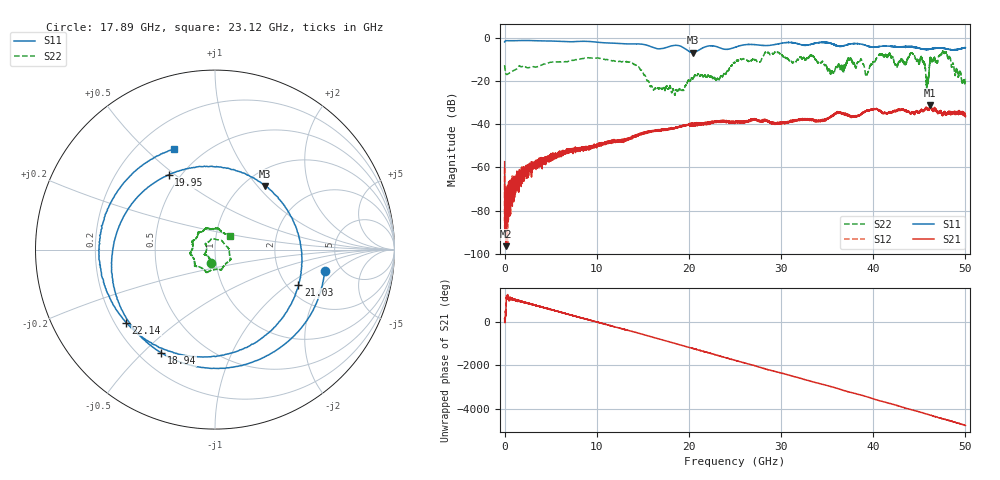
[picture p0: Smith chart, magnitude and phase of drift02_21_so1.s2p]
!Created with skrf (http://scikit-rf.org).
# Hz S RI R 50.0
!freq ReS11 ImS11 ReS21 ImS21 ReS12 ImS12 ReS22 ImS22
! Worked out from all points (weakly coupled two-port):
!   10001 points, 300 kHz to 50 GHz, reference 50 ohm
!   highest |S21| = -31.27 dB at 46.2 GHz (marker M1); lowest = -96.4 dB at 155.3 MHz (marker M2)
!   lowest |S11| = -6.9 dB at 20.45 GHz (marker M3), VSWR 2.64, Z = 61.8 + j55 ohm
!   |S11| at or under -10 dB: nowhere
!   |S22| runs from -26.6 to -6.2 dB; largest |S21 - S12| = 0.0029
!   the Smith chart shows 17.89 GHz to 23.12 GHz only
!   S11 on the Smith chart (normalised r, x): 17.89 GHz: 3.70, -1.45; 18.94 GHz: 0.29, -0.57; 19.95 GHz: 0.43, +0.47; 21.03 GHz: 2.28, -1.22; 22.14 GHz: 0.25, -0.34; 23.12 GHz: 0.35, +0.61
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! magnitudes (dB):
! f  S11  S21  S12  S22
! 300 kHz  -2.1  -57.3  -60.3  -12.7
! 155.3 MHz  -1.5  -96.4  -77.8  -16.9
! 3.33 GHz  -1.5  -59.6  -59.7  -13.7
! 8.335 GHz  -1.7  -51.5  -51.7  -9.7
! 13.7 GHz  -2.9  -46.3  -46.5  -11.6
! 16.67 GHz  -5.2  -43.0  -43.0  -23.5
! 17.89 GHz  -4.1  -42.1  -42.3  -22.2
! 18.94 GHz  -3.8  -41.2  -41.5  -23.7
! 19.95 GHz  -6.2  -40.2  -40.3  -19.7
! 20.45 GHz  -6.9  -40.3  -39.8  -19.2
! 21.03 GHz  -5.9  -40.2  -39.8  -16.9
! 22.14 GHz  -3.9  -39.2  -39.5  -17.7
! 23.12 GHz  -4.4  -38.5  -38.7  -18.9
! 25 GHz  -4.5  -39.1  -39.1  -11.5
! 33.34 GHz  -3.0  -37.9  -38.0  -8.4
! 39.32 GHz  -3.8  -33.9  -33.8  -17.2
! 41.67 GHz  -4.0  -34.6  -34.8  -7.9
! 44.26 GHz  -4.3  -34.7  -34.7  -7.4
! 45.84 GHz  -5.4  -32.9  -33.0  -19.5
! 46.2 GHz  -5.2  -31.3  -31.7  -9.1
! 47.75 GHz  -5.0  -34.6  -34.4  -6.9
! 50 GHz  -4.7  -36.2  -36.5  -19.3
